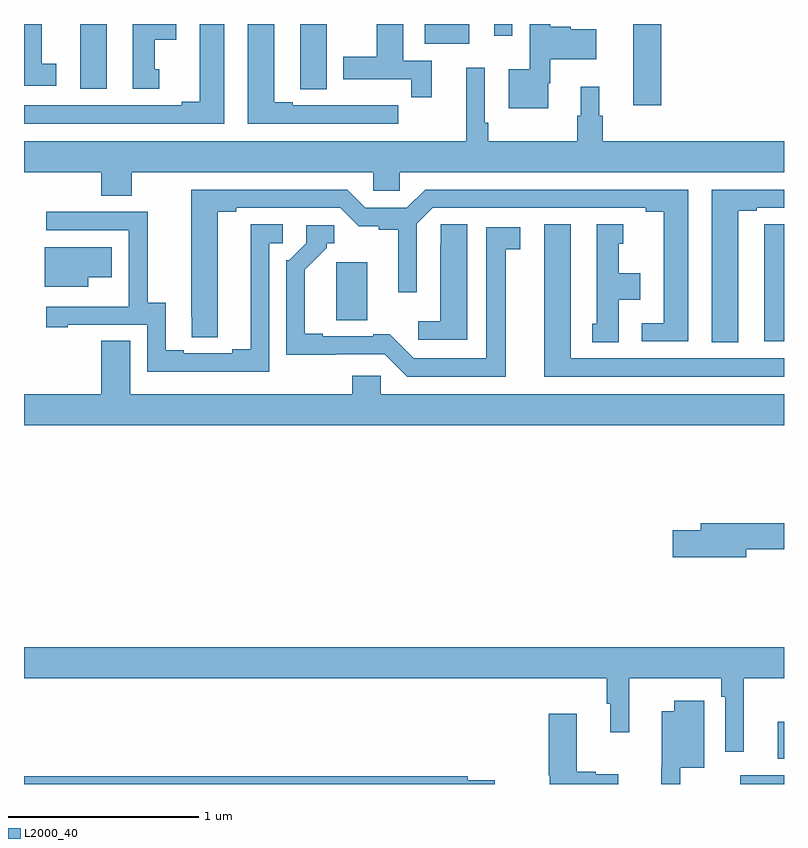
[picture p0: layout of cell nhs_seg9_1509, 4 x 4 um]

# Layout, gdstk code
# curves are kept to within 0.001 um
import gdstk
lib = gdstk.Library(unit=1e-6, precision=1e-09)
def R(c, l, rs):  # rectangles x0, y0, x1, y1
    for r in rs: c.add(gdstk.rectangle(r[:2], r[2:], *l))
def P(c, l, *ps):  # polygons
    for p in ps: c.add(gdstk.Polygon(p, *l))
L2000_40 = (2000, 40)

nhs_seg9_1509 = lib.new_cell('nhs_seg9_1509')
R(nhs_seg9_1509, L2000_40, [(198.77,1226.5,199,1226.545), (198.968,1226.634,199,1226.827), (198.206,1230.072,198.353,1230.5), (195.296,1230.159,195.436,1230.5), (197.108,1230.395,197.344,1230.5), (197.474,1230.438,197.571,1230.5)])
P(nhs_seg9_1509, L2000_40, [(197.758,1230.189),(197.77,1230.189),(197.77,1230.314),(198.013,1230.314),(198.013,1230.472),(197.877,1230.472),(197.877,1230.485),(197.77,1230.485),(197.77,1230.5),(197.661,1230.5),(197.661,1230.262),(197.552,1230.262),(197.552,1230.056),(197.758,1230.056)],
  [(196.594,1230.5),(196.454,1230.5),(196.454,1230.265),(196.455,1230.265),(196.455,1230.157),(196.594,1230.157)],
  [(196.054,1230.5),(195.926,1230.5),(195.926,1230.092),(195.83,1230.092),(195.83,1230.072),(195,1230.072),(195,1229.976),(196.054,1229.976)],
  [(196.969,1230.072),(196.856,1230.072),(196.856,1230.073),(196.69,1230.073),(196.69,1230.072),(196.414,1230.072),(196.414,1230.087),(196.318,1230.087),(196.318,1230.5),(196.178,1230.5),(196.178,1229.976),(196.969,1229.976)],
  [(195.712,1230.261),(195.688,1230.261),(195.688,1230.416),(195.802,1230.416),(195.802,1230.5),(195.572,1230.5),(195.572,1230.159),(195.712,1230.159)],
  [(197.147,1230.306),(196.996,1230.306),(196.996,1230.5),(196.856,1230.5),(196.856,1230.327),(196.679,1230.327),(196.679,1230.21),(197.038,1230.21),(197.038,1230.114),(197.147,1230.114)],
  [(195.169,1230.29),(195.094,1230.29),(195.094,1230.5),(195,1230.5),(195,1230.174),(195.169,1230.174)],
  [(195.567,1229.72),(196.839,1229.72),(196.839,1229.622),(196.977,1229.622),(196.977,1229.72),(199,1229.72),(199,1229.884),(198.047,1229.884),(198.047,1230.018),(198.028,1230.018),(198.028,1230.169),(197.93,1230.169),(197.93,1230.018),(197.911,1230.018),(197.911,1229.884),(197.444,1229.884),(197.444,1229.98),(197.424,1229.98),(197.424,1230.271),(197.327,1230.271),(197.327,1229.884),(195,1229.884),(195,1229.72),(195.407,1229.72),(195.407,1229.596),(195.567,1229.596)],
  [(198.496,1229.628),(197.111,1229.628),(197.015,1229.532),(196.797,1229.532),(196.701,1229.628),(195.881,1229.628),(195.882,1228.852),(196.021,1228.852),(196.021,1229.512),(196.117,1229.512),(196.117,1229.532),(196.665,1229.532),(196.763,1229.435),(196.866,1229.435),(196.866,1229.416),(196.97,1229.416),(196.97,1229.088),(197.067,1229.088),(197.067,1229.448),(197.151,1229.532),(198.272,1229.532),(198.272,1229.512),(198.368,1229.512),(198.368,1228.926),(198.252,1228.926),(198.252,1228.83),(198.496,1228.83)],
  [(198.76,1229.517),(198.856,1229.517),(198.856,1229.532),(199,1229.532),(199,1229.628),(198.62,1229.628),(198.62,1228.825),(198.76,1228.825)],
  [(196.29,1229.346),(196.363,1229.346),(196.363,1229.447),(196.193,1229.447),(196.193,1228.787),(196.097,1228.787),(196.097,1228.767),(195.841,1228.767),(195.841,1228.782),(195.745,1228.782),(195.745,1229.033),(195.651,1229.033),(195.651,1229.511),(195.117,1229.511),(195.117,1229.415),(195.552,1229.415),(195.552,1229.014),(195.551,1229.014),(195.551,1229.013),(195.117,1229.013),(195.117,1228.905),(195.229,1228.905),(195.229,1228.917),(195.648,1228.917),(195.648,1228.671),(196.29,1228.671)],
  [(197.332,1229.447),(197.193,1229.447),(197.193,1229.339),(197.192,1229.339),(197.192,1228.936),(197.076,1228.936),(197.076,1228.839),(197.332,1228.839)],
  [(199,1229.447),(198.897,1229.447),(198.897,1229.339),(198.896,1229.339),(198.896,1228.829),(199,1228.829)],
  [(198.13,1229.048),(198.244,1229.048),(198.244,1229.188),(198.13,1229.188),(198.13,1229.343),(198.154,1229.343),(198.154,1229.446),(198.014,1229.446),(198.014,1228.923),(197.99,1228.923),(197.99,1228.825),(198.13,1228.825)],
  [(199,1228.74),(197.878,1228.74),(197.878,1229.446),(197.738,1229.446),(197.738,1228.644),(199,1228.644)],
  [(197.536,1229.314),(197.611,1229.314),(197.611,1229.43),(197.432,1229.43),(197.432,1228.74),(197.052,1228.74),(196.924,1228.868),(196.838,1228.868),(196.838,1228.857),(196.573,1228.857),(196.573,1228.87),(196.477,1228.87),(196.477,1229.206),(196.594,1229.323),(196.594,1229.346),(196.633,1229.346),(196.633,1229.442),(196.485,1229.442),(196.485,1229.346),(196.395,1229.256),(196.38,1229.256),(196.38,1228.76),(196.899,1228.761),(197.016,1228.644),(197.536,1228.644)],
  [(195.337,1229.168),(195.463,1229.168),(195.463,1229.326),(195.11,1229.326),(195.11,1229.117),(195.337,1229.117)],
  [(196.806,1229.1),(196.807,1229.1),(196.807,1229.245),(196.643,1229.245),(196.643,1228.942),(196.806,1228.942)],
  [(199,1228.552),(196.878,1228.552),(196.878,1228.65),(196.727,1228.65),(196.727,1228.552),(195.559,1228.552),(195.559,1228.832),(195.407,1228.832),(195.407,1228.552),(195,1228.552),(195,1228.388),(199,1228.388)],
  [(198.802,1227.736),(199,1227.736),(199,1227.872),(198.563,1227.872),(198.563,1227.836),(198.414,1227.836),(198.414,1227.694),(198.802,1227.694)],
  [(198.788,1227.056),(199,1227.056),(199,1227.22),(195,1227.22),(195,1227.056),(198.067,1227.056),(198.067,1226.922),(198.086,1226.922),(198.086,1226.772),(198.186,1226.772),(198.186,1227.056),(198.67,1227.056),(198.67,1226.96),(198.69,1226.96),(198.69,1226.67),(198.788,1226.67)],
  [(198.453,1226.585),(198.58,1226.585),(198.58,1226.938),(198.422,1226.938),(198.422,1226.884),(198.356,1226.884),(198.356,1226.589),(198.355,1226.589),(198.355,1226.5),(198.453,1226.5)],
  [(198.127,1226.551),(198.009,1226.551),(198.009,1226.564),(197.908,1226.564),(197.908,1226.869),(197.762,1226.869),(197.762,1226.547),(197.767,1226.547),(197.767,1226.5),(198.127,1226.5)],
  [(197.478,1226.52),(197.336,1226.52),(197.336,1226.54),(195,1226.54),(195,1226.5),(197.478,1226.5)])

lib.write_gds('nhs_seg9_1509.gds')
